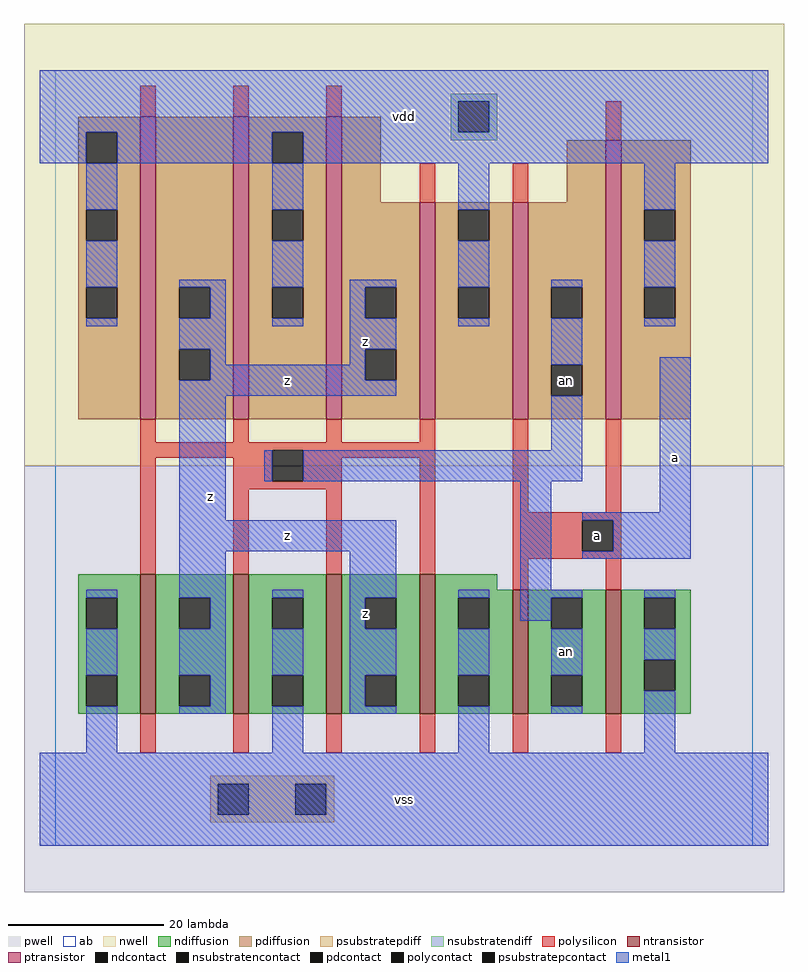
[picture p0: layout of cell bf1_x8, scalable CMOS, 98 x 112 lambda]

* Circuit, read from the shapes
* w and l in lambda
.subckt bf1_x8 a an vdd vss z
M1 z an vss vss nfet w=18 l=2 m=4
M2 an a vss vss nfet w=16 l=2 m=2
M3 z an vdd vdd pfet w=39 l=2 m=3
M4 vdd an z vdd pfet w=28 l=2
M5 an a vdd vdd pfet w=28 l=2
M6 vdd a an vdd pfet w=36 l=2
.ends

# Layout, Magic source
magic
tech scmos
<< ab >>
rect 0 0 90 100
<< pwell >>
rect -4 -6 94 49
<< nwell >>
rect -4 49 94 106
<< polysilicon >>
rect 11 94 13 98
rect 23 94 25 98
rect 35 94 37 98
rect 71 91 73 96
rect 47 83 49 88
rect 59 83 61 88
rect 11 52 13 55
rect 23 52 25 55
rect 35 52 37 55
rect 47 52 49 55
rect 11 51 49 52
rect 11 50 28 51
rect 11 35 13 50
rect 23 47 28 50
rect 32 50 49 51
rect 32 47 37 50
rect 23 46 37 47
rect 23 35 25 46
rect 35 35 37 46
rect 47 35 49 50
rect 59 43 61 55
rect 71 43 73 55
rect 59 42 73 43
rect 59 38 68 42
rect 72 38 73 42
rect 59 37 73 38
rect 59 33 61 37
rect 71 33 73 37
rect 11 12 13 17
rect 23 12 25 17
rect 35 12 37 17
rect 47 12 49 17
rect 59 12 61 17
rect 71 12 73 17
<< ndiffusion >>
rect 3 32 11 35
rect 3 28 4 32
rect 8 28 11 32
rect 3 22 11 28
rect 3 18 4 22
rect 8 18 11 22
rect 3 17 11 18
rect 13 32 23 35
rect 13 28 16 32
rect 20 28 23 32
rect 13 22 23 28
rect 13 18 16 22
rect 20 18 23 22
rect 13 17 23 18
rect 25 32 35 35
rect 25 28 28 32
rect 32 28 35 32
rect 25 22 35 28
rect 25 18 28 22
rect 32 18 35 22
rect 25 17 35 18
rect 37 32 47 35
rect 37 28 40 32
rect 44 28 47 32
rect 37 22 47 28
rect 37 18 40 22
rect 44 18 47 22
rect 37 17 47 18
rect 49 33 57 35
rect 49 32 59 33
rect 49 28 52 32
rect 56 28 59 32
rect 49 22 59 28
rect 49 18 52 22
rect 56 18 59 22
rect 49 17 59 18
rect 61 32 71 33
rect 61 28 64 32
rect 68 28 71 32
rect 61 22 71 28
rect 61 18 64 22
rect 68 18 71 22
rect 61 17 71 18
rect 73 32 82 33
rect 73 28 76 32
rect 80 28 82 32
rect 73 24 82 28
rect 73 20 76 24
rect 80 20 82 24
rect 73 17 82 20
<< pdiffusion >>
rect 3 92 11 94
rect 3 88 4 92
rect 8 88 11 92
rect 3 82 11 88
rect 3 78 4 82
rect 8 78 11 82
rect 3 72 11 78
rect 3 68 4 72
rect 8 68 11 72
rect 3 55 11 68
rect 13 72 23 94
rect 13 68 16 72
rect 20 68 23 72
rect 13 64 23 68
rect 13 60 16 64
rect 20 60 23 64
rect 13 55 23 60
rect 25 92 35 94
rect 25 88 28 92
rect 32 88 35 92
rect 25 82 35 88
rect 25 78 28 82
rect 32 78 35 82
rect 25 72 35 78
rect 25 68 28 72
rect 32 68 35 72
rect 25 55 35 68
rect 37 83 42 94
rect 66 83 71 91
rect 37 72 47 83
rect 37 68 40 72
rect 44 68 47 72
rect 37 64 47 68
rect 37 60 40 64
rect 44 60 47 64
rect 37 55 47 60
rect 49 82 59 83
rect 49 78 52 82
rect 56 78 59 82
rect 49 72 59 78
rect 49 68 52 72
rect 56 68 59 72
rect 49 55 59 68
rect 61 72 71 83
rect 61 68 64 72
rect 68 68 71 72
rect 61 62 71 68
rect 61 58 64 62
rect 68 58 71 62
rect 61 55 71 58
rect 73 82 82 91
rect 73 78 76 82
rect 80 78 82 82
rect 73 72 82 78
rect 73 68 76 72
rect 80 68 82 72
rect 73 55 82 68
<< metal1 >>
rect -2 92 92 100
rect -2 88 4 92
rect 8 88 28 92
rect 32 88 92 92
rect 4 82 8 88
rect 4 72 8 78
rect 28 82 32 88
rect 4 67 8 68
rect 16 72 22 73
rect 20 68 22 72
rect 16 64 22 68
rect 28 72 32 78
rect 52 82 56 88
rect 28 67 32 68
rect 38 72 44 73
rect 38 68 40 72
rect 20 62 22 64
rect 38 64 44 68
rect 52 72 56 78
rect 76 82 80 88
rect 52 67 56 68
rect 64 72 68 73
rect 38 62 40 64
rect 20 60 40 62
rect 16 58 44 60
rect 64 62 68 68
rect 76 72 80 78
rect 76 67 80 68
rect 16 42 22 58
rect 64 51 68 58
rect 27 47 28 51
rect 32 47 68 51
rect 16 38 44 42
rect 4 32 8 33
rect 4 22 8 28
rect 4 12 8 18
rect 16 32 22 38
rect 20 28 22 32
rect 16 22 22 28
rect 20 18 22 22
rect 16 17 22 18
rect 28 32 32 33
rect 28 22 32 28
rect 28 12 32 18
rect 38 32 44 38
rect 60 33 64 47
rect 78 43 82 63
rect 68 42 82 43
rect 72 38 82 42
rect 68 37 82 38
rect 38 28 40 32
rect 38 22 44 28
rect 38 18 40 22
rect 38 17 44 18
rect 52 32 56 33
rect 60 32 68 33
rect 60 29 64 32
rect 52 22 56 28
rect 52 12 56 18
rect 64 22 68 28
rect 64 17 68 18
rect 76 32 80 33
rect 76 24 80 28
rect 76 12 80 20
rect -2 0 92 12
<< ntransistor >>
rect 11 17 13 35
rect 23 17 25 35
rect 35 17 37 35
rect 47 17 49 35
rect 59 17 61 33
rect 71 17 73 33
<< ptransistor >>
rect 11 55 13 94
rect 23 55 25 94
rect 35 55 37 94
rect 47 55 49 83
rect 59 55 61 83
rect 71 55 73 91
<< polycontact >>
rect 28 47 32 51
rect 68 38 72 42
<< ndcontact >>
rect 4 28 8 32
rect 4 18 8 22
rect 16 28 20 32
rect 16 18 20 22
rect 28 28 32 32
rect 28 18 32 22
rect 40 28 44 32
rect 40 18 44 22
rect 52 28 56 32
rect 52 18 56 22
rect 64 28 68 32
rect 64 18 68 22
rect 76 28 80 32
rect 76 20 80 24
<< pdcontact >>
rect 4 88 8 92
rect 4 78 8 82
rect 4 68 8 72
rect 16 68 20 72
rect 16 60 20 64
rect 28 88 32 92
rect 28 78 32 82
rect 28 68 32 72
rect 40 68 44 72
rect 40 60 44 64
rect 52 78 56 82
rect 52 68 56 72
rect 64 68 68 72
rect 64 58 68 62
rect 76 78 80 82
rect 76 68 80 72
<< psubstratepcontact >>
rect 21 4 25 8
rect 31 4 35 8
<< nsubstratencontact >>
rect 52 92 56 96
<< psubstratepdiff >>
rect 20 8 36 9
rect 20 4 21 8
rect 25 4 31 8
rect 35 4 36 8
rect 20 3 36 4
<< nsubstratendiff >>
rect 51 96 57 97
rect 51 92 52 96
rect 56 92 57 96
rect 51 91 57 92
<< labels >>
rlabel metal1 20 45 20 45 6 z
rlabel metal1 20 45 20 45 6 z
rlabel metal1 30 40 30 40 6 z
rlabel metal1 40 30 40 30 6 z
rlabel metal1 40 30 40 30 6 z
rlabel metal1 30 40 30 40 6 z
rlabel metal1 40 65 40 65 6 z
rlabel metal1 30 60 30 60 6 z
rlabel metal1 40 65 40 65 6 z
rlabel metal1 30 60 30 60 6 z
rlabel metal1 45 6 45 6 6 vss
rlabel metal1 45 6 45 6 6 vss
rlabel metal1 66 25 66 25 6 an
rlabel pdcontact 66 60 66 60 6 an
rlabel metal1 45 94 45 94 6 vdd
rlabel metal1 45 94 45 94 6 vdd
rlabel polycontact 70 40 70 40 6 a
rlabel polycontact 70 40 70 40 6 a
rlabel metal1 80 50 80 50 6 a
rlabel metal1 80 50 80 50 6 a
<< end >>
